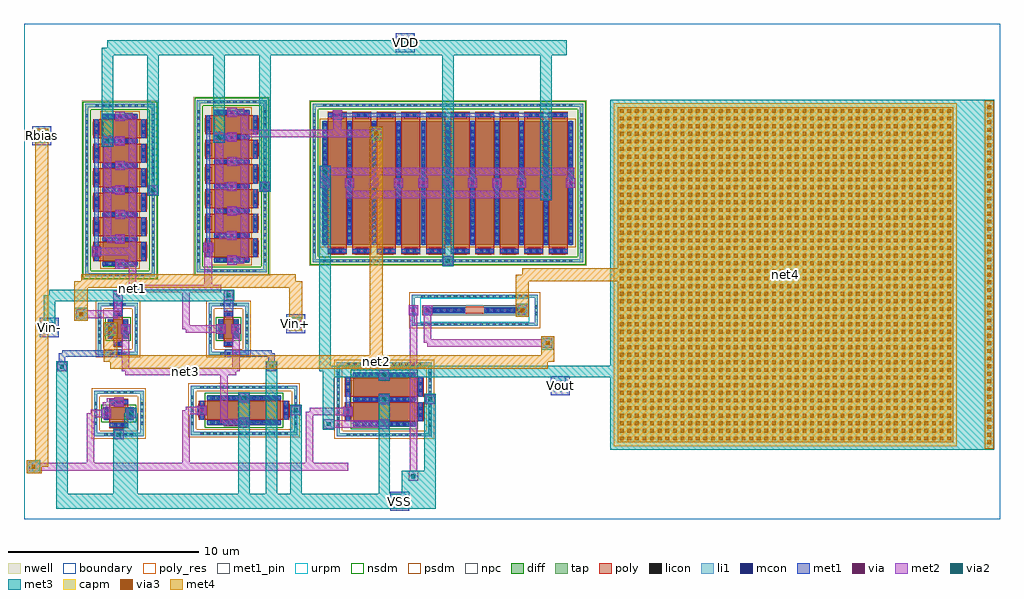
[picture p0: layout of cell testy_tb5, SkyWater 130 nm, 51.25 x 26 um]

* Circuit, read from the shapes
.subckt testy_tb5 Rbias VDD VSS Vin+ Vin- Vout net1 net2 net3 net4
XM1 VSS Rbias Rbias VSS sky130_fd_pr__nfet_01v8 w=0.65 l=1
XM2 net3 Vin+ net2 VSS sky130_fd_pr__nfet_01v8 w=1 l=0.5
XM3 VSS Rbias net3 VSS sky130_fd_pr__nfet_01v8 w=3.87 l=1
XM4 net3 Vin- net1 VSS sky130_fd_pr__nfet_01v8 w=1 l=0.5
XM5 VSS Rbias Vout VSS sky130_fd_pr__nfet_01v8 w=3.25 l=1 m=2
XM6 VDD net1 net1 VDD sky130_fd_pr__pfet_01v8 w=1.83 l=1 m=6
XM7 VDD net1 net2 VDD sky130_fd_pr__pfet_01v8 w=1.83 l=1 m=6
XM8 VDD net2 Vout VDD sky130_fd_pr__pfet_01v8 w=6.5 l=1 m=10
XC9 net4 Vout sky130_fd_pr__cap_mim_m3_1 w=18 l=18
XR10 net4 net2 VSS sky130_fd_pr__res_xhigh_po w=0.35 l=1.05
.ends

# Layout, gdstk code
from math import pi, radians
import gdstk
lib = gdstk.Library(unit=1e-6, precision=1e-09)
def R(c, l, rs):  # rectangles x0, y0, x1, y1
    for r in rs: c.add(gdstk.rectangle(r[:2], r[2:], *l))
def A(c, l, x, y, w, h, nx, ny, dx, dy):  # array of equal rectangles
    R(c, l, [(x+i*dx, y+j*dy, x+i*dx+w, y+j*dy+h) for i in range(nx) for j in range(ny)])
nwell = (64, 20)
diff = (65, 20)
tap = (65, 44)
poly_res = (66, 13)
poly = (66, 20)
licon = (66, 44)
li1 = (67, 20)
mcon = (67, 44)
met1_pin = (68, 16)
met1 = (68, 20)
via = (68, 44)
met2 = (69, 20)
via2 = (69, 44)
met3 = (70, 20)
via3 = (70, 44)
met4 = (71, 20)
urpm = (79, 20)
capm = (89, 44)
nsdm = (93, 44)
psdm = (94, 20)
npc = (95, 20)
boundary = (235, 4)

sky130_fd_pr__cap_mim_m3 = lib.new_cell('sky130_fd_pr__cap_mim_m3_1_S8ZEV2')
R(sky130_fd_pr__cap_mim_m3, met3, [(-10.08,-9.2,10.08,9.2)])
A(sky130_fd_pr__cap_mim_m3, via3, 9.72, -8.9, 0.2, 0.2, 1, 45, 0, 0.4)
A(sky130_fd_pr__cap_mim_m3, via3, -9.58, -8.7, 0.2, 0.2, 44, 44, 0.4, 0.4)
R(sky130_fd_pr__cap_mim_m3, met4, [(9.58,-9.14,10.06,9.14), (-9.685,-8.805,7.925,8.805)])
R(sky130_fd_pr__cap_mim_m3, capm, [(-9.88,-9,8.12,9)])
R(sky130_fd_pr__cap_mim_m3, boundary, [(-10.08,-9.2,8.32,9.2)])
sky130_fd_pr__cap_mim_m3.add(gdstk.Label('C1', (-0.88,0), layer=71, texttype=5))
sky130_fd_pr__cap_mim_m3.add(gdstk.Label('C2', (9.82,0), layer=71, texttype=5))

sky130_fd_pr__nfet_01v8_ = lib.new_cell('sky130_fd_pr__nfet_01v8_ATX6D2')
R(sky130_fd_pr__nfet_01v8_, diff, [(-0.54,-0.5,0.54,0.5)])
R(sky130_fd_pr__nfet_01v8_, tap, [(-1.05,-1.37,1.05,-1.2), (-1.05,-1.2,-0.88,1.2), (0.88,-1.2,1.05,1.2), (-1.05,1.2,1.05,1.37)])
R(sky130_fd_pr__nfet_01v8_, poly, [(-0.25,-0.94,0.25,0.94)])
A(sky130_fd_pr__nfet_01v8_, licon, -0.425, -1.37, 0.17, 0.17, 3, 2, 0.34, 2.57)
A(sky130_fd_pr__nfet_01v8_, licon, -1.05, -0.765, 0.17, 0.17, 1, 5, 0, 0.34)
A(sky130_fd_pr__nfet_01v8_, licon, 0.88, -0.765, 0.17, 0.17, 1, 5, 0, 0.34)
A(sky130_fd_pr__nfet_01v8_, licon, -0.48, -0.425, 0.17, 0.17, 1, 3, 0, 0.34)
A(sky130_fd_pr__nfet_01v8_, licon, 0.31, -0.425, 0.17, 0.17, 1, 3, 0, 0.34)
R(sky130_fd_pr__nfet_01v8_, licon, [(-0.085,-0.86,0.085,-0.69), (-0.085,0.69,0.085,0.86)])
R(sky130_fd_pr__nfet_01v8_, li1, [(-1.05,-1.37,1.05,-1.2), (-1.05,-1.2,-0.88,1.2), (0.88,-1.2,1.05,1.2), (-0.25,-0.86,0.25,-0.69), (-0.48,-0.52,-0.31,0.52), (0.31,-0.52,0.48,0.52), (-0.25,0.69,0.25,0.86), (-1.05,1.2,1.05,1.37)])
R(sky130_fd_pr__nfet_01v8_, mcon, [(-0.085,-0.86,0.085,-0.69), (-0.48,-0.265,-0.31,-0.095), (0.31,-0.265,0.48,-0.095), (-0.48,0.095,-0.31,0.265), (0.31,0.095,0.48,0.265), (-0.085,0.69,0.085,0.86)])
R(sky130_fd_pr__nfet_01v8_, met1, [(-0.23,-0.89,0.23,-0.66), (-0.51,-0.5,-0.28,0.5), (0.28,-0.5,0.51,0.5), (-0.23,0.66,0.23,0.89)])
R(sky130_fd_pr__nfet_01v8_, nsdm, [(-0.665,-0.625,0.665,0.625)])
R(sky130_fd_pr__nfet_01v8_, psdm, [(-1.175,-1.495,1.175,-1.075), (-1.175,-1.075,-0.755,1.075), (0.755,-1.075,1.175,1.075), (-1.175,1.075,1.175,1.495)])
R(sky130_fd_pr__nfet_01v8_, npc, [(-0.185,-0.96,0.185,-0.59), (-0.185,0.59,0.185,0.96)])
R(sky130_fd_pr__nfet_01v8_, boundary, [(-0.965,-1.285,0.965,1.285)])
sky130_fd_pr__nfet_01v8_.add(gdstk.Label('G', (0,0.775), layer=67, texttype=5))
sky130_fd_pr__nfet_01v8_.add(gdstk.Label('S', (0.395,0), layer=67, texttype=5))
sky130_fd_pr__nfet_01v8_.add(gdstk.Label('D', (-0.395,0), layer=67, texttype=5))
sky130_fd_pr__nfet_01v8_.add(gdstk.Label('B', (0,-1.285), layer=67, texttype=5))

sky130_fd_pr__pfet_01v8_ = lib.new_cell('sky130_fd_pr__pfet_01v8_VGG7AT')
R(sky130_fd_pr__pfet_01v8_, nwell, [(-4.705,-2.01,4.705,2.01)])
R(sky130_fd_pr__pfet_01v8_, diff, [(-4.015,-0.915,4.015,0.915)])
R(sky130_fd_pr__pfet_01v8_, tap, [(-4.525,-1.83,4.525,-1.66), (-4.525,-1.66,-4.355,1.66), (4.355,-1.66,4.525,1.66), (-4.525,1.66,4.525,1.83)])
A(sky130_fd_pr__pfet_01v8_, poly, -3.725, -1.4, 1, 2.8, 6, 1, 1.29, 0)
A(sky130_fd_pr__pfet_01v8_, licon, -3.995, -1.83, 0.17, 0.17, 24, 2, 0.34, 3.49)
A(sky130_fd_pr__pfet_01v8_, licon, -4.525, -1.275, 0.17, 0.17, 1, 8, 0, 0.34)
A(sky130_fd_pr__pfet_01v8_, licon, 4.355, -1.275, 0.17, 0.17, 1, 8, 0, 0.34)
A(sky130_fd_pr__pfet_01v8_, licon, -3.955, -0.765, 0.17, 0.17, 7, 5, 1.29, 0.34)
R(sky130_fd_pr__pfet_01v8_, licon, [(-3.48,-1.32,-3.31,-1.15), (-3.14,-1.32,-2.97,-1.15), (-2.19,-1.32,-2.02,-1.15), (-1.85,-1.32,-1.68,-1.15), (-0.9,-1.32,-0.73,-1.15), (-0.56,-1.32,-0.39,-1.15), (0.39,-1.32,0.56,-1.15), (0.73,-1.32,0.9,-1.15), (1.68,-1.32,1.85,-1.15), (2.02,-1.32,2.19,-1.15), (2.97,-1.32,3.14,-1.15), (3.31,-1.32,3.48,-1.15), (-3.48,1.15,-3.31,1.32), (-3.14,1.15,-2.97,1.32), (-2.19,1.15,-2.02,1.32), (-1.85,1.15,-1.68,1.32), (-0.9,1.15,-0.73,1.32), (-0.56,1.15,-0.39,1.32), (0.39,1.15,0.56,1.32), (0.73,1.15,0.9,1.32), (1.68,1.15,1.85,1.32), (2.02,1.15,2.19,1.32), (2.97,1.15,3.14,1.32), (3.31,1.15,3.48,1.32)])
A(sky130_fd_pr__pfet_01v8_, li1, -3.725, -1.32, 1, 0.17, 6, 2, 1.29, 2.47)
A(sky130_fd_pr__pfet_01v8_, li1, -3.955, -0.935, 0.17, 1.87, 7, 1, 1.29, 0)
R(sky130_fd_pr__pfet_01v8_, li1, [(-4.525,-1.83,4.525,-1.66), (-4.525,-1.66,-4.355,1.66), (4.355,-1.66,4.525,1.66), (-4.525,1.66,4.525,1.83)])
A(sky130_fd_pr__pfet_01v8_, mcon, -3.955, -0.805, 0.17, 0.17, 7, 5, 1.29, 0.36)
R(sky130_fd_pr__pfet_01v8_, mcon, [(-3.49,-1.32,-3.32,-1.15), (-3.13,-1.32,-2.96,-1.15), (-2.2,-1.32,-2.03,-1.15), (-1.84,-1.32,-1.67,-1.15), (-0.91,-1.32,-0.74,-1.15), (-0.55,-1.32,-0.38,-1.15), (0.38,-1.32,0.55,-1.15), (0.74,-1.32,0.91,-1.15), (1.67,-1.32,1.84,-1.15), (2.03,-1.32,2.2,-1.15), (2.96,-1.32,3.13,-1.15), (3.32,-1.32,3.49,-1.15), (-3.49,1.15,-3.32,1.32), (-3.13,1.15,-2.96,1.32), (-2.2,1.15,-2.03,1.32), (-1.84,1.15,-1.67,1.32), (-0.91,1.15,-0.74,1.32), (-0.55,1.15,-0.38,1.32), (0.38,1.15,0.55,1.32), (0.74,1.15,0.91,1.32), (1.67,1.15,1.84,1.32), (2.03,1.15,2.2,1.32), (2.96,1.15,3.13,1.32), (3.32,1.15,3.49,1.32)])
A(sky130_fd_pr__pfet_01v8_, met1, -3.705, -1.35, 0.96, 0.23, 6, 2, 1.29, 2.47)
A(sky130_fd_pr__pfet_01v8_, met1, -3.985, -0.915, 0.23, 1.83, 7, 1, 1.29, 0)
R(sky130_fd_pr__pfet_01v8_, nsdm, [(-4.65,-1.955,4.65,-1.535), (-4.65,-1.535,-4.23,1.535), (4.23,-1.535,4.65,1.535), (-4.65,1.535,4.65,1.955)])
R(sky130_fd_pr__pfet_01v8_, psdm, [(-4.14,-1.04,4.14,1.04)])
A(sky130_fd_pr__pfet_01v8_, npc, -3.58, -1.42, 0.71, 0.37, 6, 2, 1.29, 2.47)
R(sky130_fd_pr__pfet_01v8_, boundary, [(-4.44,-1.745,4.44,1.745)])
sky130_fd_pr__pfet_01v8_.add(gdstk.Label('S5', (2.58,0), layer=67, texttype=5))
sky130_fd_pr__pfet_01v8_.add(gdstk.Label('G5', (3.225,1.235), layer=67, texttype=5))
sky130_fd_pr__pfet_01v8_.add(gdstk.Label('S3', (0,0), layer=67, texttype=5))
sky130_fd_pr__pfet_01v8_.add(gdstk.Label('G3', (0.645,1.235), layer=67, texttype=5))
sky130_fd_pr__pfet_01v8_.add(gdstk.Label('G2', (-0.645,1.235), layer=67, texttype=5))
sky130_fd_pr__pfet_01v8_.add(gdstk.Label('D2', (-1.29,0), layer=67, texttype=5))
sky130_fd_pr__pfet_01v8_.add(gdstk.Label('G1', (-1.935,1.235), layer=67, texttype=5))
sky130_fd_pr__pfet_01v8_.add(gdstk.Label('G4', (1.935,1.235), layer=67, texttype=5))
sky130_fd_pr__pfet_01v8_.add(gdstk.Label('G0', (-3.225,1.235), layer=67, texttype=5))
sky130_fd_pr__pfet_01v8_.add(gdstk.Label('D0', (-3.87,0), layer=67, texttype=5))
sky130_fd_pr__pfet_01v8_.add(gdstk.Label('D4', (1.29,0), layer=67, texttype=5))
sky130_fd_pr__pfet_01v8_.add(gdstk.Label('S1', (-2.58,0), layer=67, texttype=5))
sky130_fd_pr__pfet_01v8_.add(gdstk.Label('B', (0,-1.745), layer=67, texttype=5))

c_sky130_fd_pr__nfet_01v8_ = lib.new_cell('sky130_fd_pr__nfet_01v8_ZT6TC5')
R(c_sky130_fd_pr__nfet_01v8_, diff, [(-0.79,-0.325,0.79,0.325)])
R(c_sky130_fd_pr__nfet_01v8_, tap, [(-1.3,-1.195,1.3,-1.025), (-1.3,-1.025,-1.13,1.025), (1.13,-1.025,1.3,1.025), (-1.3,1.025,1.3,1.195)])
R(c_sky130_fd_pr__nfet_01v8_, poly, [(-0.5,-0.765,0.5,0.765)])
A(c_sky130_fd_pr__nfet_01v8_, licon, -0.765, -1.195, 0.17, 0.17, 5, 2, 0.34, 2.22)
A(c_sky130_fd_pr__nfet_01v8_, licon, -1.3, -0.595, 0.17, 0.17, 1, 4, 0, 0.34)
A(c_sky130_fd_pr__nfet_01v8_, licon, 1.13, -0.595, 0.17, 0.17, 1, 4, 0, 0.34)
R(c_sky130_fd_pr__nfet_01v8_, licon, [(-0.255,-0.685,-0.085,-0.515), (0.085,-0.685,0.255,-0.515), (-0.73,-0.255,-0.56,-0.085), (0.56,-0.255,0.73,-0.085), (-0.73,0.085,-0.56,0.255), (0.56,0.085,0.73,0.255), (-0.255,0.515,-0.085,0.685), (0.085,0.515,0.255,0.685)])
R(c_sky130_fd_pr__nfet_01v8_, li1, [(-1.3,-1.195,1.3,-1.025), (-1.3,-1.025,-1.13,1.025), (1.13,-1.025,1.3,1.025), (-0.5,-0.685,0.5,-0.515), (-0.73,-0.345,-0.56,0.345), (0.56,-0.345,0.73,0.345), (-0.5,0.515,0.5,0.685), (-1.3,1.025,1.3,1.195)])
R(c_sky130_fd_pr__nfet_01v8_, mcon, [(-0.265,-0.685,-0.095,-0.515), (0.095,-0.685,0.265,-0.515), (-0.73,-0.265,-0.56,-0.095), (0.56,-0.265,0.73,-0.095), (-0.73,0.095,-0.56,0.265), (0.56,0.095,0.73,0.265), (-0.265,0.515,-0.095,0.685), (0.095,0.515,0.265,0.685)])
R(c_sky130_fd_pr__nfet_01v8_, met1, [(-0.48,-0.715,0.48,-0.485), (-0.76,-0.325,-0.53,0.325), (0.53,-0.325,0.76,0.325), (-0.48,0.485,0.48,0.715)])
R(c_sky130_fd_pr__nfet_01v8_, nsdm, [(-0.915,-0.45,0.915,0.45)])
R(c_sky130_fd_pr__nfet_01v8_, psdm, [(-1.425,-1.32,1.425,-0.9), (-1.425,-0.9,-1.005,0.9), (1.005,-0.9,1.425,0.9), (-1.425,0.9,1.425,1.32)])
R(c_sky130_fd_pr__nfet_01v8_, npc, [(-0.355,-0.785,0.355,-0.415), (-0.355,0.415,0.355,0.785)])
R(c_sky130_fd_pr__nfet_01v8_, boundary, [(-1.215,-1.11,1.215,1.11)])
c_sky130_fd_pr__nfet_01v8_.add(gdstk.Label('G', (0,0.6), layer=67, texttype=5))
c_sky130_fd_pr__nfet_01v8_.add(gdstk.Label('S', (0.645,0), layer=67, texttype=5))
c_sky130_fd_pr__nfet_01v8_.add(gdstk.Label('D', (-0.645,0), layer=67, texttype=5))
c_sky130_fd_pr__nfet_01v8_.add(gdstk.Label('B', (0,-1.11), layer=67, texttype=5))

c_sky130_fd_pr__pfet_01v8_ = lib.new_cell('sky130_fd_pr__pfet_01v8_72SAAS')
R(c_sky130_fd_pr__pfet_01v8_, nwell, [(-7.285,-4.345,7.285,4.345)])
R(c_sky130_fd_pr__pfet_01v8_, diff, [(-6.595,-3.25,6.595,3.25)])
R(c_sky130_fd_pr__pfet_01v8_, tap, [(-7.105,-4.165,7.105,-3.995), (-7.105,-3.995,-6.935,3.995), (6.935,-3.995,7.105,3.995), (-7.105,3.995,7.105,4.165)])
A(c_sky130_fd_pr__pfet_01v8_, poly, -6.305, -3.735, 1, 7.47, 10, 1, 1.29, 0)
A(c_sky130_fd_pr__pfet_01v8_, licon, -6.545, -4.165, 0.17, 0.17, 39, 2, 0.34, 8.16)
A(c_sky130_fd_pr__pfet_01v8_, licon, -7.105, -3.655, 0.17, 0.17, 1, 22, 0, 0.34)
A(c_sky130_fd_pr__pfet_01v8_, licon, 6.935, -3.655, 0.17, 0.17, 1, 22, 0, 0.34)
A(c_sky130_fd_pr__pfet_01v8_, licon, -6.535, -3.145, 0.17, 0.17, 11, 19, 1.29, 0.34)
R(c_sky130_fd_pr__pfet_01v8_, licon, [(-6.06,-3.655,-5.89,-3.485), (-5.72,-3.655,-5.55,-3.485), (-4.77,-3.655,-4.6,-3.485), (-4.43,-3.655,-4.26,-3.485), (-3.48,-3.655,-3.31,-3.485), (-3.14,-3.655,-2.97,-3.485), (-2.19,-3.655,-2.02,-3.485), (-1.85,-3.655,-1.68,-3.485), (-0.9,-3.655,-0.73,-3.485), (-0.56,-3.655,-0.39,-3.485), (0.39,-3.655,0.56,-3.485), (0.73,-3.655,0.9,-3.485), (1.68,-3.655,1.85,-3.485), (2.02,-3.655,2.19,-3.485), (2.97,-3.655,3.14,-3.485), (3.31,-3.655,3.48,-3.485), (4.26,-3.655,4.43,-3.485), (4.6,-3.655,4.77,-3.485), (5.55,-3.655,5.72,-3.485), (5.89,-3.655,6.06,-3.485), (-6.06,3.485,-5.89,3.655), (-5.72,3.485,-5.55,3.655), (-4.77,3.485,-4.6,3.655), (-4.43,3.485,-4.26,3.655), (-3.48,3.485,-3.31,3.655), (-3.14,3.485,-2.97,3.655), (-2.19,3.485,-2.02,3.655), (-1.85,3.485,-1.68,3.655), (-0.9,3.485,-0.73,3.655), (-0.56,3.485,-0.39,3.655), (0.39,3.485,0.56,3.655), (0.73,3.485,0.9,3.655), (1.68,3.485,1.85,3.655), (2.02,3.485,2.19,3.655), (2.97,3.485,3.14,3.655), (3.31,3.485,3.48,3.655), (4.26,3.485,4.43,3.655), (4.6,3.485,4.77,3.655), (5.55,3.485,5.72,3.655), (5.89,3.485,6.06,3.655)])
A(c_sky130_fd_pr__pfet_01v8_, li1, -6.305, -3.655, 1, 0.17, 10, 2, 1.29, 7.14)
A(c_sky130_fd_pr__pfet_01v8_, li1, -6.535, -3.27, 0.17, 6.54, 11, 1, 1.29, 0)
R(c_sky130_fd_pr__pfet_01v8_, li1, [(-7.105,-4.165,7.105,-3.995), (-7.105,-3.995,-6.935,3.995), (6.935,-3.995,7.105,3.995), (-7.105,3.995,7.105,4.165)])
A(c_sky130_fd_pr__pfet_01v8_, mcon, -6.535, -3.145, 0.17, 0.17, 11, 18, 1.29, 0.36)
R(c_sky130_fd_pr__pfet_01v8_, mcon, [(-6.07,-3.655,-5.9,-3.485), (-5.71,-3.655,-5.54,-3.485), (-4.78,-3.655,-4.61,-3.485), (-4.42,-3.655,-4.25,-3.485), (-3.49,-3.655,-3.32,-3.485), (-3.13,-3.655,-2.96,-3.485), (-2.2,-3.655,-2.03,-3.485), (-1.84,-3.655,-1.67,-3.485), (-0.91,-3.655,-0.74,-3.485), (-0.55,-3.655,-0.38,-3.485), (0.38,-3.655,0.55,-3.485), (0.74,-3.655,0.91,-3.485), (1.67,-3.655,1.84,-3.485), (2.03,-3.655,2.2,-3.485), (2.96,-3.655,3.13,-3.485), (3.32,-3.655,3.49,-3.485), (4.25,-3.655,4.42,-3.485), (4.61,-3.655,4.78,-3.485), (5.54,-3.655,5.71,-3.485), (5.9,-3.655,6.07,-3.485), (-6.07,3.485,-5.9,3.655), (-5.71,3.485,-5.54,3.655), (-4.78,3.485,-4.61,3.655), (-4.42,3.485,-4.25,3.655), (-3.49,3.485,-3.32,3.655), (-3.13,3.485,-2.96,3.655), (-2.2,3.485,-2.03,3.655), (-1.84,3.485,-1.67,3.655), (-0.91,3.485,-0.74,3.655), (-0.55,3.485,-0.38,3.655), (0.38,3.485,0.55,3.655), (0.74,3.485,0.91,3.655), (1.67,3.485,1.84,3.655), (2.03,3.485,2.2,3.655), (2.96,3.485,3.13,3.655), (3.32,3.485,3.49,3.655), (4.25,3.485,4.42,3.655), (4.61,3.485,4.78,3.655), (5.54,3.485,5.71,3.655), (5.9,3.485,6.07,3.655)])
A(c_sky130_fd_pr__pfet_01v8_, met1, -6.285, -3.685, 0.96, 0.23, 10, 2, 1.29, 7.14)
A(c_sky130_fd_pr__pfet_01v8_, met1, -6.565, -3.25, 0.23, 6.5, 11, 1, 1.29, 0)
R(c_sky130_fd_pr__pfet_01v8_, nsdm, [(-7.23,-4.29,7.23,-3.87), (-7.23,-3.87,-6.81,3.87), (6.81,-3.87,7.23,3.87), (-7.23,3.87,7.23,4.29)])
R(c_sky130_fd_pr__pfet_01v8_, psdm, [(-6.72,-3.375,6.72,3.375)])
A(c_sky130_fd_pr__pfet_01v8_, npc, -6.16, -3.755, 0.71, 0.37, 10, 2, 1.29, 7.14)
R(c_sky130_fd_pr__pfet_01v8_, boundary, [(-7.02,-4.08,7.02,4.08)])
c_sky130_fd_pr__pfet_01v8_.add(gdstk.Label('S9', (5.16,0), layer=67, texttype=5))
c_sky130_fd_pr__pfet_01v8_.add(gdstk.Label('B', (0,-4.08), layer=67, texttype=5))
c_sky130_fd_pr__pfet_01v8_.add(gdstk.Label('D4', (-1.29,0), layer=67, texttype=5))
c_sky130_fd_pr__pfet_01v8_.add(gdstk.Label('G9', (5.805,3.57), layer=67, texttype=5))
c_sky130_fd_pr__pfet_01v8_.add(gdstk.Label('G0', (-5.805,3.57), layer=67, texttype=5))
c_sky130_fd_pr__pfet_01v8_.add(gdstk.Label('D8', (3.87,0), layer=67, texttype=5))
c_sky130_fd_pr__pfet_01v8_.add(gdstk.Label('G6', (1.935,3.57), layer=67, texttype=5))
c_sky130_fd_pr__pfet_01v8_.add(gdstk.Label('G4', (-0.645,3.57), layer=67, texttype=5))
c_sky130_fd_pr__pfet_01v8_.add(gdstk.Label('G1', (-4.515,3.57), layer=67, texttype=5))
c_sky130_fd_pr__pfet_01v8_.add(gdstk.Label('G7', (3.225,3.57), layer=67, texttype=5))
c_sky130_fd_pr__pfet_01v8_.add(gdstk.Label('D2', (-3.87,0), layer=67, texttype=5))
c_sky130_fd_pr__pfet_01v8_.add(gdstk.Label('G8', (4.515,3.57), layer=67, texttype=5))
c_sky130_fd_pr__pfet_01v8_.add(gdstk.Label('S7', (2.58,0), layer=67, texttype=5))
c_sky130_fd_pr__pfet_01v8_.add(gdstk.Label('D6', (1.29,0), layer=67, texttype=5))
c_sky130_fd_pr__pfet_01v8_.add(gdstk.Label('S1', (-5.16,0), layer=67, texttype=5))
c_sky130_fd_pr__pfet_01v8_.add(gdstk.Label('G2', (-3.225,3.57), layer=67, texttype=5))
c_sky130_fd_pr__pfet_01v8_.add(gdstk.Label('G3', (-1.935,3.57), layer=67, texttype=5))
c_sky130_fd_pr__pfet_01v8_.add(gdstk.Label('S3', (-2.58,0), layer=67, texttype=5))
c_sky130_fd_pr__pfet_01v8_.add(gdstk.Label('G5', (0.645,3.57), layer=67, texttype=5))
c_sky130_fd_pr__pfet_01v8_.add(gdstk.Label('D0', (-6.45,0), layer=67, texttype=5))
c_sky130_fd_pr__pfet_01v8_.add(gdstk.Label('S5', (0,0), layer=67, texttype=5))

c_sky130_fd_pr__nfet_01v8__ = lib.new_cell('sky130_fd_pr__nfet_01v8_N5QVHX')
R(c_sky130_fd_pr__nfet_01v8__, diff, [(-0.79,-1.935,0.79,1.935)])
R(c_sky130_fd_pr__nfet_01v8__, tap, [(-1.3,-2.805,1.3,-2.635), (-1.3,-2.635,-1.13,2.635), (1.13,-2.635,1.3,2.635), (-1.3,2.635,1.3,2.805)])
R(c_sky130_fd_pr__nfet_01v8__, poly, [(-0.5,-2.375,0.5,2.375)])
A(c_sky130_fd_pr__nfet_01v8__, licon, -0.765, -2.805, 0.17, 0.17, 5, 2, 0.34, 5.44)
A(c_sky130_fd_pr__nfet_01v8__, licon, -1.3, -2.295, 0.17, 0.17, 1, 14, 0, 0.34)
A(c_sky130_fd_pr__nfet_01v8__, licon, 1.13, -2.295, 0.17, 0.17, 1, 14, 0, 0.34)
A(c_sky130_fd_pr__nfet_01v8__, licon, -0.73, -1.785, 0.17, 0.17, 1, 11, 0, 0.34)
A(c_sky130_fd_pr__nfet_01v8__, licon, 0.56, -1.785, 0.17, 0.17, 1, 11, 0, 0.34)
R(c_sky130_fd_pr__nfet_01v8__, licon, [(-0.255,-2.295,-0.085,-2.125), (0.085,-2.295,0.255,-2.125), (-0.255,2.125,-0.085,2.295), (0.085,2.125,0.255,2.295)])
R(c_sky130_fd_pr__nfet_01v8__, li1, [(-1.3,-2.805,1.3,-2.635), (-1.3,-2.635,-1.13,2.635), (1.13,-2.635,1.3,2.635), (-0.5,-2.295,0.5,-2.125), (-0.73,-1.955,-0.56,1.955), (0.56,-1.955,0.73,1.955), (-0.5,2.125,0.5,2.295), (-1.3,2.635,1.3,2.805)])
A(c_sky130_fd_pr__nfet_01v8__, mcon, -0.73, -1.705, 0.17, 0.17, 1, 10, 0, 0.36)
A(c_sky130_fd_pr__nfet_01v8__, mcon, 0.56, -1.705, 0.17, 0.17, 1, 10, 0, 0.36)
R(c_sky130_fd_pr__nfet_01v8__, mcon, [(-0.265,-2.295,-0.095,-2.125), (0.095,-2.295,0.265,-2.125), (-0.265,2.125,-0.095,2.295), (0.095,2.125,0.265,2.295)])
R(c_sky130_fd_pr__nfet_01v8__, met1, [(-0.48,-2.325,0.48,-2.095), (-0.76,-1.935,-0.53,1.935), (0.53,-1.935,0.76,1.935), (-0.48,2.095,0.48,2.325)])
R(c_sky130_fd_pr__nfet_01v8__, nsdm, [(-0.915,-2.06,0.915,2.06)])
R(c_sky130_fd_pr__nfet_01v8__, psdm, [(-1.425,-2.93,1.425,-2.51), (-1.425,-2.51,-1.005,2.51), (1.005,-2.51,1.425,2.51), (-1.425,2.51,1.425,2.93)])
R(c_sky130_fd_pr__nfet_01v8__, npc, [(-0.355,-2.395,0.355,-2.025), (-0.355,2.025,0.355,2.395)])
R(c_sky130_fd_pr__nfet_01v8__, boundary, [(-1.215,-2.72,1.215,2.72)])
c_sky130_fd_pr__nfet_01v8__.add(gdstk.Label('G', (0,2.21), layer=67, texttype=5))
c_sky130_fd_pr__nfet_01v8__.add(gdstk.Label('S', (0.645,0), layer=67, texttype=5))
c_sky130_fd_pr__nfet_01v8__.add(gdstk.Label('D', (-0.645,0), layer=67, texttype=5))
c_sky130_fd_pr__nfet_01v8__.add(gdstk.Label('B', (0,-2.72), layer=67, texttype=5))

c_sky130_fd_pr__nfet_01v8___ = lib.new_cell('sky130_fd_pr__nfet_01v8_ERQSGZ')
R(c_sky130_fd_pr__nfet_01v8___, diff, [(-1.435,-1.625,1.435,1.625)])
R(c_sky130_fd_pr__nfet_01v8___, tap, [(-1.945,-2.495,1.945,-2.325), (-1.945,-2.325,-1.775,2.325), (1.775,-2.325,1.945,2.325), (-1.945,2.325,1.945,2.495)])
R(c_sky130_fd_pr__nfet_01v8___, poly, [(-1.145,-2.065,-0.145,2.065), (0.145,-2.065,1.145,2.065)])
A(c_sky130_fd_pr__nfet_01v8___, licon, -1.445, -2.495, 0.17, 0.17, 9, 2, 0.34, 4.82)
A(c_sky130_fd_pr__nfet_01v8___, licon, -1.945, -1.955, 0.17, 0.17, 1, 12, 0, 0.34)
A(c_sky130_fd_pr__nfet_01v8___, licon, 1.775, -1.955, 0.17, 0.17, 1, 12, 0, 0.34)
A(c_sky130_fd_pr__nfet_01v8___, licon, -1.375, -1.445, 0.17, 0.17, 3, 9, 1.29, 0.34)
R(c_sky130_fd_pr__nfet_01v8___, licon, [(-0.9,-1.985,-0.73,-1.815), (-0.56,-1.985,-0.39,-1.815), (0.39,-1.985,0.56,-1.815), (0.73,-1.985,0.9,-1.815), (-0.9,1.815,-0.73,1.985), (-0.56,1.815,-0.39,1.985), (0.39,1.815,0.56,1.985), (0.73,1.815,0.9,1.985)])
A(c_sky130_fd_pr__nfet_01v8___, li1, -1.375, -1.645, 0.17, 3.29, 3, 1, 1.29, 0)
R(c_sky130_fd_pr__nfet_01v8___, li1, [(-1.945,-2.495,1.945,-2.325), (-1.945,-2.325,-1.775,2.325), (1.775,-2.325,1.945,2.325), (-1.145,-1.985,-0.145,-1.815), (0.145,-1.985,1.145,-1.815), (-1.145,1.815,-0.145,1.985), (0.145,1.815,1.145,1.985), (-1.945,2.325,1.945,2.495)])
A(c_sky130_fd_pr__nfet_01v8___, mcon, -1.375, -1.525, 0.17, 0.17, 3, 9, 1.29, 0.36)
R(c_sky130_fd_pr__nfet_01v8___, mcon, [(-0.91,-1.985,-0.74,-1.815), (-0.55,-1.985,-0.38,-1.815), (0.38,-1.985,0.55,-1.815), (0.74,-1.985,0.91,-1.815), (-0.91,1.815,-0.74,1.985), (-0.55,1.815,-0.38,1.985), (0.38,1.815,0.55,1.985), (0.74,1.815,0.91,1.985)])
A(c_sky130_fd_pr__nfet_01v8___, met1, -1.405, -1.625, 0.23, 3.25, 3, 1, 1.29, 0)
R(c_sky130_fd_pr__nfet_01v8___, met1, [(-1.125,-2.015,-0.165,-1.785), (0.165,-2.015,1.125,-1.785), (-1.125,1.785,-0.165,2.015), (0.165,1.785,1.125,2.015)])
R(c_sky130_fd_pr__nfet_01v8___, nsdm, [(-1.56,-1.75,1.56,1.75)])
R(c_sky130_fd_pr__nfet_01v8___, psdm, [(-2.07,-2.62,2.07,-2.2), (-2.07,-2.2,-1.65,2.2), (1.65,-2.2,2.07,2.2), (-2.07,2.2,2.07,2.62)])
R(c_sky130_fd_pr__nfet_01v8___, npc, [(-1,-2.085,-0.29,-1.715), (0.29,-2.085,1,-1.715), (-1,1.715,-0.29,2.085), (0.29,1.715,1,2.085)])
R(c_sky130_fd_pr__nfet_01v8___, boundary, [(-1.86,-2.41,1.86,2.41)])
c_sky130_fd_pr__nfet_01v8___.add(gdstk.Label('G1', (0.645,1.9), layer=67, texttype=5))
c_sky130_fd_pr__nfet_01v8___.add(gdstk.Label('G0', (-0.645,1.9), layer=67, texttype=5))
c_sky130_fd_pr__nfet_01v8___.add(gdstk.Label('D0', (-1.29,0), layer=67, texttype=5))
c_sky130_fd_pr__nfet_01v8___.add(gdstk.Label('S1', (0,0), layer=67, texttype=5))
c_sky130_fd_pr__nfet_01v8___.add(gdstk.Label('B', (0,-2.41), layer=67, texttype=5))

sky130_fd_pr__res_xhigh_ = lib.new_cell('sky130_fd_pr__res_xhigh_po_0p35_8VPXUQ')
R(sky130_fd_pr__res_xhigh_, tap, [(-0.825,-3.315,0.825,-3.145), (-0.825,-3.145,-0.655,3.145), (0.655,-3.145,0.825,3.145), (-0.825,3.145,0.825,3.315)])
R(sky130_fd_pr__res_xhigh_, poly_res, [(-0.175,-0.585,0.175,0.585)])
R(sky130_fd_pr__res_xhigh_, poly, [(-0.175,-2.665,0.175,2.665)])
A(sky130_fd_pr__res_xhigh_, licon, -0.825, -2.805, 0.17, 0.17, 1, 17, 0, 0.34)
A(sky130_fd_pr__res_xhigh_, licon, 0.655, -2.805, 0.17, 0.17, 1, 17, 0, 0.34)
R(sky130_fd_pr__res_xhigh_, licon, [(-0.255,-3.315,-0.085,-3.145), (0.085,-3.315,0.255,-3.145), (-0.095,-2.585,0.095,-0.585), (-0.095,0.585,0.095,2.585), (-0.255,3.145,-0.085,3.315), (0.085,3.145,0.255,3.315)])
R(sky130_fd_pr__res_xhigh_, li1, [(-0.825,-3.315,0.825,-3.145), (-0.825,-3.145,-0.655,3.145), (0.655,-3.145,0.825,3.145), (-0.175,-2.665,0.175,-0.505), (-0.175,0.505,0.175,2.665), (-0.825,3.145,0.825,3.315)])
A(sky130_fd_pr__res_xhigh_, mcon, -0.085, -2.57, 0.17, 0.17, 1, 6, 0, 0.36)
A(sky130_fd_pr__res_xhigh_, mcon, -0.085, 0.595, 0.17, 0.17, 1, 6, 0, 0.36)
R(sky130_fd_pr__res_xhigh_, met1, [(-0.125,-2.635,0.125,-0.53), (-0.125,0.53,0.125,2.635)])
R(sky130_fd_pr__res_xhigh_, urpm, [(-0.635,-2.865,0.635,2.865)])
R(sky130_fd_pr__res_xhigh_, psdm, [(-0.95,-3.44,0.95,3.44)])
R(sky130_fd_pr__res_xhigh_, npc, [(-0.27,-2.76,0.27,2.76)])
R(sky130_fd_pr__res_xhigh_, boundary, [(-0.74,-3.23,0.74,3.23)])
sky130_fd_pr__res_xhigh_.add(gdstk.Label('R2', (0,-2.49), layer=67, texttype=5))
sky130_fd_pr__res_xhigh_.add(gdstk.Label('R1', (0,2.49), layer=67, texttype=5))
sky130_fd_pr__res_xhigh_.add(gdstk.Label('B', (0,-3.23), layer=67, texttype=5))

testy_tb5 = lib.new_cell('testy_tb5')
R(testy_tb5, li1, [(35.395,-19.9,35.565,-19.73), (44.69,-18.625,44.86,-18.455), (51.74,-18.05,51.91,-17.88), (35.345,-15.64,35.515,-15.47), (41.155,-15.64,41.325,-15.47), (50.86,-13.37,51.03,-13.2), (52.67,-10.77,52.84,-10.6), (37.2,-7.06,37.37,-6.89), (43.07,-6.86,43.24,-6.69)])
R(testy_tb5, mcon, [(35.395,-19.9,35.565,-19.73), (44.69,-18.625,44.86,-18.455), (51.74,-18.05,51.91,-17.88), (35.345,-15.64,35.515,-15.47), (41.155,-15.64,41.325,-15.47), (50.86,-13.37,51.03,-13.2), (52.67,-10.77,52.84,-10.6), (37.2,-7.06,37.37,-6.89), (43.07,-6.86,43.24,-6.69)])
R(testy_tb5, met1_pin, [(49.74,-23.82,50.74,-22.82), (58.15,-17.75,59.15,-16.75), (31.33,-14.69,32.33,-13.69), (44.27,-14.49,45.27,-13.49), (30.93,-4.61,31.93,-3.61), (50.01,0.25,51.01,1.25)])
A(testy_tb5, met1, 49.165, -19.505, 0.5, 0.5, 1, 3, 0, 1.29)
A(testy_tb5, met1, 35.29, -11.095, 0.5, 0.5, 1, 7, 0, 1.29)
A(testy_tb5, met1, 41.16, -10.895, 0.5, 0.5, 1, 7, 0, 1.29)
A(testy_tb5, met1, 46.055, -6.855, 0.5, 0.5, 11, 1, 1.29, 0)
R(testy_tb5, met1, [(49.74,-23.82,50.74,-22.82), (35.23,-20.065,35.73,-19.565), (41.805,-19.435,42.305,-18.935), (34.585,-18.955,35.085,-18.455), (35.875,-18.955,36.375,-18.455), (47.265,-18.86,47.765,-18.36), (39.595,-18.79,40.095,-18.29), (44.525,-18.79,45.025,-18.29), (47.395,-18.36,47.635,-17.18), (35.23,-18.355,35.73,-17.855), (51.575,-18.215,52.075,-17.715), (41.805,-18.145,42.305,-17.645), (58.15,-17.75,59.15,-16.75), (32.25,-16.5,32.75,-16), (43.25,-16.5,43.75,-16), (32.325,-16,32.675,-15.73), (43.325,-16,43.675,-15.73), (35.23,-15.755,35.63,-15.73), (41.04,-15.755,41.44,-15.73), (32.325,-15.73,35.63,-15.555), (41.04,-15.73,43.675,-15.555), (32.5,-15.555,35.63,-15.38), (41.04,-15.555,43.5,-15.38), (35.23,-15.38,35.63,-15.355), (41.04,-15.38,41.44,-15.355), (31.33,-14.69,32.33,-13.69), (34.785,-14.52,35.285,-14.02), (35.575,-14.52,36.075,-14.02), (40.595,-14.52,41.095,-14.02), (41.385,-14.52,41.885,-14.02), (44.27,-14.49,45.27,-13.49), (50.695,-13.535,51.195,-13.035), (51.435,-13.535,51.935,-13.035), (56.415,-13.535,56.915,-13.035), (35.18,-13.425,35.68,-12.25), (40.99,-13.425,41.49,-12.25), (52.505,-10.935,53.005,-10.435), (34.055,-10.45,34.555,-9.95), (39.925,-10.25,40.425,-9.75), (34.19,-9.95,34.42,-3.6), (40.06,-9.75,40.29,-3.4), (37.035,-7.225,37.535,-6.725), (42.905,-7.025,43.405,-6.525), (30.93,-4.61,31.93,-3.61), (46.7,-3.285,47.2,-3.15), (46.6,-3.15,58.91,-2.92), (46.7,-2.92,47.2,-2.785), (50.01,0.25,51.01,1.25)])
A(testy_tb5, via, 49.34, -19.33, 0.15, 0.15, 1, 3, 0, 1.29)
A(testy_tb5, via, 35.465, -10.92, 0.15, 0.15, 1, 7, 0, 1.29)
A(testy_tb5, via, 41.335, -10.72, 0.15, 0.15, 1, 7, 0, 1.29)
A(testy_tb5, via, 46.23, -6.68, 0.15, 0.15, 11, 1, 1.29, 0)
R(testy_tb5, via, [(50.165,-23.395,50.315,-23.245), (35.405,-19.89,35.555,-19.74), (41.98,-19.26,42.13,-19.11), (34.76,-18.78,34.91,-18.63), (36.05,-18.78,36.2,-18.63), (47.44,-18.685,47.59,-18.535), (39.77,-18.615,39.92,-18.465), (44.7,-18.615,44.85,-18.465), (35.405,-18.18,35.555,-18.03), (51.75,-18.04,51.9,-17.89), (41.98,-17.97,42.13,-17.82), (58.575,-17.325,58.725,-17.175), (32.425,-16.325,32.575,-16.175), (43.425,-16.325,43.575,-16.175), (34.96,-14.345,35.11,-14.195), (35.75,-14.345,35.9,-14.195), (40.77,-14.345,40.92,-14.195), (41.56,-14.345,41.71,-14.195), (31.755,-14.265,31.905,-14.115), (44.695,-14.065,44.845,-13.915), (50.87,-13.36,51.02,-13.21), (51.61,-13.36,51.76,-13.21), (56.59,-13.36,56.74,-13.21), (35.355,-12.575,35.505,-12.425), (41.165,-12.575,41.315,-12.425), (52.68,-10.76,52.83,-10.61), (34.23,-10.275,34.38,-10.125), (40.1,-10.075,40.25,-9.925), (37.21,-7.05,37.36,-6.9), (43.08,-6.85,43.23,-6.7), (31.355,-4.185,31.505,-4.035), (46.875,-3.11,47.025,-2.96), (50.435,0.675,50.585,0.825)])
A(testy_tb5, met2, 35.29, -11.045, 1.11, 0.4, 1, 3, 0, 2.58)
A(testy_tb5, met2, 47.395, -7.005, 0.4, 0.15, 4, 1, 2.58, 0)
A(testy_tb5, met2, 47.345, -6.855, 0.5, 0.5, 8, 1, 1.29, 0)
A(testy_tb5, met2, 48.685, -6.355, 0.4, 0.15, 5, 1, 2.58, 0)
R(testy_tb5, met2, [(49.99,-23.57,50.49,-23.07), (50.695,-22.25,51.195,-21.75), (30.75,-21.75,31.25,-21.7), (50.745,-21.75,51.145,-13.535), (30.75,-21.7,47.515,-21.3), (30.75,-21.3,31.25,-21.25), (33.8,-21.3,34.2,-18.905), (38.8,-21.3,39.2,-18.74), (45.3,-21.3,45.7,-18.81), (35.23,-20.065,35.73,-19.565), (46.25,-19.505,46.75,-19.455), (49.165,-19.505,49.665,-19.455), (46.25,-19.455,49.665,-19.055), (41.805,-19.435,42.305,-19.385), (41,-19.385,42.305,-19.185), (40.8,-19.185,42.305,-18.985), (46.25,-19.055,46.75,-19.005), (49.165,-19.055,49.665,-19.005), (40.8,-18.985,41.2,-16.7), (41.805,-18.985,42.305,-18.935), (34.585,-18.955,35.085,-18.905), (35.875,-18.955,36.375,-18.455), (33.8,-18.905,35.085,-18.705), (47.265,-18.86,47.765,-18.81), (45.3,-18.81,47.765,-18.61), (39.595,-18.79,40.095,-18.74), (44.525,-18.79,45.025,-18.29), (38.8,-18.74,40.095,-18.54), (34,-18.705,35.085,-18.505), (45.5,-18.61,47.765,-18.41), (39,-18.54,40.095,-18.34), (34.585,-18.505,35.085,-18.455), (34.635,-18.455,35.035,-18.305), (47.265,-18.41,47.765,-18.36), (35.23,-18.355,35.73,-18.305), (39.595,-18.34,40.095,-18.29), (34.635,-18.305,35.73,-18.105), (49.165,-18.215,49.665,-17.715), (51.575,-18.215,52.075,-17.715), (41.805,-18.145,42.305,-17.645), (34.835,-18.105,35.73,-17.905), (35.23,-17.905,35.73,-17.855), (58.4,-17.5,58.9,-17), (49.165,-16.925,49.665,-16.425), (35.825,-16.7,41.635,-16.5), (32.25,-16.5,32.75,-16), (35.625,-16.5,41.835,-16.3), (43.25,-16.5,43.75,-16), (35.625,-16.3,36.025,-14.52), (41.435,-16.3,41.835,-14.52), (57.75,-15.25,58.25,-15.2), (51.685,-15.2,58.25,-15), (51.485,-15,58.25,-14.8), (51.485,-14.8,51.885,-13.535), (57.75,-14.8,58.25,-14.75), (34.785,-14.52,35.285,-14.02), (35.575,-14.52,36.075,-14.02), (40.595,-14.52,41.095,-14.47), (41.385,-14.52,41.885,-14.02), (39,-14.47,41.095,-14.27), (31.58,-14.44,32.08,-13.94), (38.8,-14.27,41.095,-14.07), (44.52,-14.24,45.02,-13.74), (38.8,-14.07,39.2,-12.35), (40.595,-14.07,41.095,-14.02), (33.25,-13.745,33.75,-13.695), (33.25,-13.695,35.43,-13.495), (50.695,-13.535,51.195,-13.035), (51.435,-13.535,51.935,-13.035), (56.415,-13.535,56.915,-13.035), (33.25,-13.495,35.63,-13.295), (33.25,-13.295,33.75,-13.245), (35.23,-13.295,35.63,-12.75), (35.18,-12.75,35.68,-12.25), (40.99,-12.75,41.49,-12.25), (36.2,-12.35,40.845,-12.15), (36,-12.15,40.845,-11.95), (36,-11.95,36.4,-11.045), (39.975,-11.95,40.375,-10.25), (35.29,-11.095,35.79,-11.045), (52.505,-10.935,53.005,-10.435), (41.16,-10.895,41.66,-10.845), (41.16,-10.845,42.07,-10.645), (35.29,-10.645,35.79,-10.595), (36,-10.645,36.4,-10.4), (41.16,-10.645,42.27,-10.445), (34.055,-10.45,34.555,-10.4), (41.16,-10.445,41.66,-10.395), (41.87,-10.445,42.27,-8.265), (34.055,-10.4,36.4,-10), (39.925,-10.25,40.425,-9.75), (34.055,-10,34.555,-9.95), (36,-10,36.4,-8.465), (35.29,-9.805,35.79,-9.755), (34.88,-9.755,35.79,-9.555), (41.16,-9.605,41.66,-9.555), (34.68,-9.555,35.79,-9.355), (40.75,-9.555,41.66,-9.355), (34.68,-9.355,35.08,-7.175), (35.29,-9.355,35.79,-9.305), (40.55,-9.355,41.66,-9.155), (40.55,-9.155,40.95,-6.975), (41.16,-9.155,41.66,-9.105), (35.29,-8.515,35.79,-8.465), (41.16,-8.315,41.66,-8.265), (41.16,-8.265,42.27,-7.865), (35.29,-8.065,35.79,-8.015), (36,-8.065,36.4,-5.885), (41.16,-7.865,41.66,-7.815), (41.87,-7.865,42.27,-5.685), (57.665,-7.455,58.165,-7.405), (47.395,-7.405,58.165,-7.005), (35.29,-7.225,35.79,-7.175), (37.035,-7.225,37.535,-6.725), (34.68,-7.175,35.79,-6.775), (41.16,-7.025,41.66,-6.975), (42.905,-7.025,43.405,-6.525), (57.665,-7.005,58.165,-6.355), (40.55,-6.975,41.66,-6.575), (46.055,-6.855,46.555,-6.205), (58.955,-6.855,59.455,-6.355), (34.68,-6.775,35.08,-4.645), (35.29,-6.775,35.79,-6.725), (40.55,-6.575,40.95,-4.445), (41.16,-6.575,41.66,-6.525), (46.055,-6.205,59.405,-5.805), (35.29,-5.935,35.79,-5.885), (46.055,-5.805,46.555,-5.755), (41.16,-5.735,41.66,-5.685), (41.16,-5.685,42.27,-5.285), (35.29,-5.485,35.79,-5.435), (36,-5.485,36.4,-3.305), (41.16,-5.285,41.66,-5.235), (41.87,-5.285,42.27,-4.2), (34.63,-4.645,35.13,-4.595), (35.29,-4.645,35.79,-4.595), (34.63,-4.595,35.79,-4.195), (40.5,-4.445,41,-4.395), (41.16,-4.445,41.66,-4.395), (40.5,-4.395,41.66,-3.995), (31.18,-4.36,31.68,-3.86), (48.75,-4.25,49.25,-4.2), (41.87,-4.2,49.25,-3.8), (34.63,-4.195,35.13,-4.145), (35.29,-4.195,35.79,-4.145), (40.5,-3.995,41,-3.945), (41.16,-3.995,41.66,-3.945), (41.87,-3.8,42.27,-3.105), (46.75,-3.8,47.15,-3.285), (48.75,-3.8,49.25,-3.75), (35.29,-3.355,35.79,-3.305), (35.29,-3.305,36.4,-3.105), (46.7,-3.285,47.2,-2.785), (41.16,-3.155,41.66,-3.105), (35.29,-3.105,36.2,-2.905), (41.16,-3.105,42.27,-2.905), (35.29,-2.905,35.79,-2.855), (41.16,-2.905,42.07,-2.705), (41.16,-2.705,41.66,-2.655), (50.26,0.5,50.76,1)])
R(testy_tb5, via2, [(50.14,-23.42,50.34,-23.22), (50.845,-22.1,51.045,-21.9), (30.9,-21.6,31.1,-21.4), (35.38,-19.915,35.58,-19.715), (46.4,-19.355,46.6,-19.155), (36.025,-18.805,36.225,-18.605), (44.675,-18.64,44.875,-18.44), (49.315,-18.065,49.515,-17.865), (51.725,-18.065,51.925,-17.865), (41.955,-17.995,42.155,-17.795), (58.55,-17.35,58.75,-17.15), (49.315,-16.775,49.515,-16.575), (32.4,-16.35,32.6,-16.15), (43.4,-16.35,43.6,-16.15), (57.9,-15.1,58.1,-14.9), (34.935,-14.37,35.135,-14.17), (31.73,-14.29,31.93,-14.09), (44.67,-14.09,44.87,-13.89), (33.4,-13.595,33.6,-13.395), (56.565,-13.385,56.765,-13.185), (41.14,-12.6,41.34,-12.4), (52.655,-10.785,52.855,-10.585), (57.815,-7.305,58.015,-7.105), (37.185,-7.075,37.385,-6.875), (43.055,-6.875,43.255,-6.675), (46.205,-6.105,46.405,-5.905), (34.78,-4.495,34.98,-4.295), (40.65,-4.295,40.85,-4.095), (31.33,-4.21,31.53,-4.01), (48.9,-4.1,49.1,-3.9), (50.41,0.65,50.61,0.85)])
R(testy_tb5, met3, [(32.2,-23.72,52.125,-22.92), (32.2,-22.92,32.8,-15.95), (35.18,-22.92,36.475,-19.515), (41.755,-22.92,42.355,-17.595), (43.2,-22.92,43.8,-15.95), (44.475,-22.92,45.075,-18.24), (49.115,-22.92,49.715,-17.665), (50.345,-22.92,52.125,-21.7), (30.65,-21.85,31.35,-21.15), (51.525,-21.7,52.125,-17.665), (46.2,-19.555,46.8,-16.8), (35.775,-19.515,36.475,-18.705), (35.825,-18.705,36.425,-18.405), (58.35,-17.55,58.95,-16.8), (49.115,-16.975,49.715,-16.8), (46.2,-16.8,62.5,-16.5), (46.005,-16.5,62.5,-16.2), (46.005,-16.2,46.605,-5.705), (57.65,-15.35,58.35,-14.65), (34.685,-14.62,35.385,-13.92), (31.53,-14.49,32.13,-12.8), (44.42,-14.34,45.12,-13.64), (33.15,-13.845,33.85,-13.145), (56.315,-13.635,57.015,-12.935), (31.53,-12.8,41.54,-12.5), (31.83,-12.5,41.54,-12.2), (52.455,-10.985,53.055,0.1), (57.615,-7.505,58.215,0.1), (36.985,-7.275,37.585,0.1), (42.855,-7.075,43.455,0.1), (34.58,-4.695,35.18,0.1), (40.45,-4.495,41.05,0.1), (31.08,-4.46,31.78,-3.76), (48.65,-4.35,49.35,-3.65), (34.58,0.1,59,0.5), (34.88,0.5,59,0.9), (50.21,0.9,50.81,1.05)])
R(testy_tb5, via3, [(30.9,-21.6,31.1,-21.4), (57.9,-15.1,58.1,-14.9), (34.935,-14.37,35.135,-14.17), (44.67,-14.09,44.87,-13.89), (33.4,-13.595,33.6,-13.395), (56.565,-13.385,56.765,-13.185), (31.33,-4.21,31.53,-4.01), (48.9,-4.1,49.1,-3.9)])
R(testy_tb5, met4, [(30.65,-21.85,31.43,-21.5), (30.65,-21.5,31.78,-21.15), (31.08,-21.15,31.78,-3.76), (35.035,-16.35,58,-16), (34.685,-16,58.35,-15.65), (34.685,-15.65,35.385,-13.92), (48.65,-15.65,49.35,-3.65), (57.65,-15.65,58.35,-14.65), (44.42,-14.34,45.12,-12.1), (33.15,-13.845,33.85,-12.1), (56.315,-13.635,57.015,-11.77), (33.15,-12.1,45.12,-11.75), (56.315,-11.77,70.48,-11.42), (33.5,-11.75,44.77,-11.4), (56.665,-11.42,70.48,-11.07)])
R(testy_tb5, boundary, [(30.5,-24.25,81.75,1.75)])
testy_tb5.add(gdstk.Reference(sky130_fd_pr__cap_mim_m3, (71.36,-11.42)))
testy_tb5.add(gdstk.Reference(sky130_fd_pr__nfet_01v8_, (41.24,-14.27)))
testy_tb5.add(gdstk.Reference(sky130_fd_pr__nfet_01v8_, (35.43,-14.27)))
testy_tb5.add(gdstk.Reference(sky130_fd_pr__pfet_01v8_, (35.54,-6.975), rotation=pi/2))
testy_tb5.add(gdstk.Reference(c_sky130_fd_pr__nfet_01v8_, (35.48,-18.705)))
testy_tb5.add(gdstk.Reference(c_sky130_fd_pr__pfet_01v8_, (52.755,-6.605)))
testy_tb5.add(gdstk.Reference(sky130_fd_pr__pfet_01v8_, (41.41,-6.775), rotation=pi/2))
testy_tb5.add(gdstk.Reference(c_sky130_fd_pr__nfet_01v8__, (42.055,-18.54), rotation=pi/2))
testy_tb5.add(gdstk.Reference(c_sky130_fd_pr__nfet_01v8___, (49.415,-17.965), rotation=pi/2))
testy_tb5.add(gdstk.Reference(sky130_fd_pr__res_xhigh_, (54.175,-13.285), rotation=3*pi/2))
testy_tb5.add(gdstk.Label('net4', (70.48,-11.42), layer=71, texttype=5))
testy_tb5.add(gdstk.Label('net2', (49,-16), layer=71, texttype=5))
testy_tb5.add(gdstk.Label('net3', (39,-16.5), layer=69, texttype=5))
testy_tb5.add(gdstk.Label('net1', (36.2,-12.15), layer=69, texttype=5))
testy_tb5.add(gdstk.Label('VSS', (50.24,-23.32), layer=68, texttype=5))
testy_tb5.add(gdstk.Label('Vout', (58.65,-17.25), layer=68, texttype=5))
testy_tb5.add(gdstk.Label('Vin+', (44.77,-13.99), layer=68, texttype=5))
testy_tb5.add(gdstk.Label('Vin-', (31.83,-14.19), layer=68, texttype=5))
testy_tb5.add(gdstk.Label('Rbias', (31.43,-4.11), layer=68, texttype=5))
testy_tb5.add(gdstk.Label('VDD', (50.51,0.75), layer=68, texttype=5))

lib.write_gds('testy_tb5.gds')
